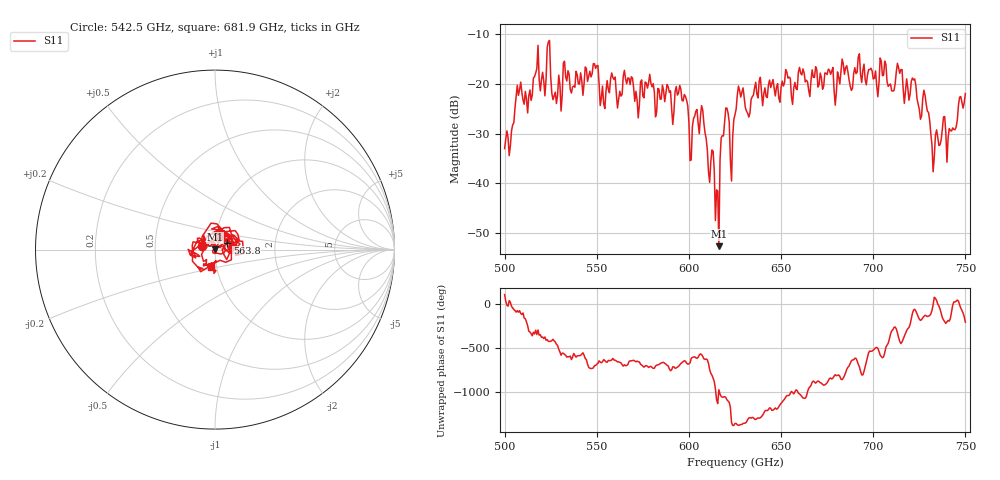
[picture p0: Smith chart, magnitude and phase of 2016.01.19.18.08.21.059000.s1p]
!Created with skrf (http://scikit-rf.org).
# GHz S RI R 50.0
!freq ReS11 ImS11
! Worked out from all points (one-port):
!   401 points, 500 GHz to 750 GHz, reference 50 ohm
!   lowest |S11| = -52.6 dB at 616.2 GHz (marker M1), VSWR 1.00, Z = 49.9 + j0.225 ohm
!   |S11| at or under -10 dB: start of sweep to end of sweep
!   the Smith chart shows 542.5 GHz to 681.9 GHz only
!   S11 on the Smith chart (normalised r, x): 542.5 GHz: 0.86, +0.04; 563.8 GHz: 1.14, +0.09; 681.9 GHz: 0.94, -0.18
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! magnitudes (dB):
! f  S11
! 500 GHz  -33.0
! 516.9 GHz  -17.8
! 531.2 GHz  -22.3
! 542.5 GHz  -22.3
! 549.4 GHz  -16.8
! 553.1 GHz  -20.4
! 558.8 GHz  -18.7
! 562.5 GHz  -21.4
! 563.8 GHz  -22.1
! 593.8 GHz  -22.2
! 601.2 GHz  -35.3
! 607.5 GHz  -25.3
! 615 GHz  -41.3
! 616.2 GHz  -52.6
! 619.4 GHz  -27.5
! 623.1 GHz  -39.5
! 625 GHz  -26.2
! 628.1 GHz  -22.6
! 631.9 GHz  -25.9
! 637.5 GHz  -22.8
! 656.2 GHz  -24.1
! 681.9 GHz  -20.0
! 687.5 GHz  -20.4
! 705 GHz  -18.3
! 718.8 GHz  -20.8
! 728.1 GHz  -22.3
! 732.5 GHz  -37.7
! 750 GHz  -21.9
